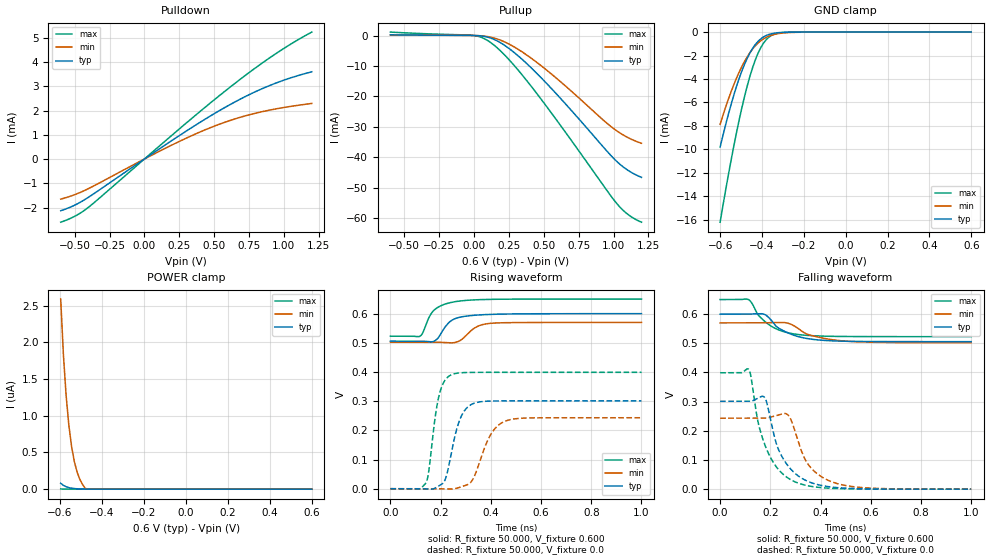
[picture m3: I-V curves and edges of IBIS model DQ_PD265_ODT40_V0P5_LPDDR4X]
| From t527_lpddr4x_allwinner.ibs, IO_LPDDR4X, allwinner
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|   Model DQ_PD265_ODT40_V0P5_LPDDR4X
[Model] DQ_PD265_ODT40_V0P5_LPDDR4X
Model_type I/O
Polarity   Non-Inverting
Enable   Active-Low
Vinl =  0.300V
Vinh =  0.300V
C_comp   1.521pF   1.481pF   1.573pF
C_comp_pulldown   0.788pF   0.760pF   0.822pF
[Model Spec]
Vinh   0.300V   0.285V   0.325V
Vinl   0.300V   0.285V   0.325V
[Temperature Range]   25.000   0.125k   -40.000
[Voltage Range]   0.600V   0.570V   0.650V
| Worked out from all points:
|   slope of the pulldown table from 0 to 0.09 V, typ, clamps not added: 256 ohm
|   slope of the pullup table from 0 to 0.09 V, typ, clamps not added: 198 ohm
|   GND clamp passes 1 mA (typ) near -0.43 V on its own axis
|   rising waveform, R_fixture 50.000, V_fixture 0.600: 20-80 % time 56.7ps typ, 57.4ps min, 59.6ps max; typ from 0.506 V to 0.6 V
|   rising waveform, R_fixture 50.000, V_fixture 0.0: 20-80 % time 50.6ps typ, 68.6ps min, 37.8ps max; typ from 0 V to 0.301 V
|   falling waveform, R_fixture 50.000, V_fixture 0.600: 20-80 % time 103ps typ, 120ps min, 91.8ps max; typ from 0.6 V to 0.506 V
|   falling waveform, R_fixture 50.000, V_fixture 0.0: 20-80 % time 90.6ps typ, 93.6ps min, 86.8ps max; typ from 0.301 V to 0 V
[Pulldown]
|Voltage   I(typ)   I(min)   I(max)
-600mV    -2.132mA   -1.654mA   -2.605mA
-486mV    -1.865mA   -1.44mA    -2.321mA
-391mV    -1.54mA    -1.192mA   -1.945mA
179mV     694.8uA    525.5uA    889.9uA
369mV     1.405mA    1.04mA     1.817mA
521mV     1.939mA    1.399mA    2.536mA
692mV     2.484mA    1.729mA    3.31mA
863mV     2.948mA    1.976mA    4.032mA
1.034V    3.318mA    2.157mA    4.685mA
1.2V      3.598mA    2.292mA    5.235mA
[Pullup]
|Voltage   I(typ)   I(min)   I(max)
-600mV    213.8uA    167.3uA    1.124mA
3mV       -3.94uA    -3.607uA   -19.46uA
60mV      -193.1uA   -141.5uA   -752.2uA
136mV     -1.136mA   -729.4uA   -2.911mA
193mV     -2.48mA    -1.6mA     -5.221mA
269mV     -4.918mA   -3.281mA   -8.89mA
440mV     -12mA      -8.5mA     -18.5mA
630mV     -21.19mA   -15.6mA    -30.21mA
934mV     -37.05mA   -28.12mA   -49.75mA
1.029V    -41.65mA   -31.53mA   -55.56mA
1.105V    -44.37mA   -33.6mA    -58.88mA
1.2V      -46.62mA   -35.42mA   -61.36mA
[GND_clamp]
|Voltage   I(typ)   I(min)   I(max)
-600mV    -9.815mA   -7.875mA   -16.22mA
-561mV    -7.046mA   -5.746mA   -12.23mA
-535mV    -5.403mA   -4.507mA   -9.766mA
-496mV    -3.316mA   -2.935mA   -6.457mA
-470mV    -2.216mA   -2.096mA   -4.569mA
-444mV    -1.371mA   -1.428mA   -2.993mA
-418mV    -778.9uA   -926.6uA   -1.774mA
-392mV    -406.1uA   -573.1uA   -928uA
-366mV    -197uA     -340uA     -421.7uA
-327mV    -60.99uA   -147uA     -102.9uA
-275mV    -11.95uA   -46.19uA   -12.78uA
600mV     -16.32nA   -580.9nA   -530.8pA
[POWER_clamp]
|Voltage   I(typ)   I(min)   I(max)
-596mV    80.11nA    2.59uA     2.718nA
-583mV    51.54nA    1.823uA    1.849nA
-570mV    33.02nA    1.267uA    1.347nA
-557mV    21.05nA    865.5nA    1.054nA
-544mV    13.37nA    578.4nA    882.1pA
-531mV    8.471nA    375.5nA    779.4pA
-518mV    5.383nA    233.4nA    714.2pA
-505mV    3.418nA    134nA      667.8pA
-492mV    2.102nA    63.17nA    630.5pA
-479mV    1.14nA     10.45nA    598.7pA
-466mV    372.9pA    0A         570.6pA
600mV     0A         0A         0A
[Ramp]
| variable   typ   min   max
dV/dt_r   0.181/50.745p   0.146/68.766p   0.239/37.989p
dV/dt_f   56.584m/0.103n   40.718m/0.120n   76.332m/91.880p
R_load = 50.000
[Rising Waveform]
R_fixture= 50.000
V_fixture= 0.600
V_fixture_min= 0.570
V_fixture_max= 0.650
|time   V(typ)   V(min)   V(max)
0s        505.7mV    502.1mV    522.8mV
117ps     505.7mV    502.1mV    522.3mV
129ps     505.7mV    502.2mV    534.6mV
157ps     503.7mV    502.1mV    592.4mV
174ps     505.7mV    502.1mV    612mV
231ps     567.7mV    500.2mV    636.2mV
265ps     585.1mV    503mV      642mV
341ps     594.9mV    553.6mV    647.5mV
393ps     597.3mV    566.3mV    648.9mV
1ns       600mV      570mV      650mV
[Rising Waveform]
R_fixture= 50.000
V_fixture= 0.0
V_fixture_min= 0.0
V_fixture_max= 0.0
|time   V(typ)   V(min)   V(max)
0s        3.732uV    85.56uV    282.6nV
142ps     -591.3uV   181.1uV    20.75mV
193ps     9.659mV    128.6uV    317mV
219ps     33.23mV    -656.5uV   373.8mV
242ps     119.4mV    -1.031mV   390.2mV
272ps     226.3mV    3.685mV    396.7mV
307ps     279.3mV    14.03mV    398.5mV
400ps     300.5mV    186.3mV    398.9mV
462ps     301.1mV    233.1mV    398.9mV
1ns       301.2mV    243.2mV    398.9mV
[Falling Waveform]
R_fixture= 50.000
V_fixture= 0.600
V_fixture_min= 0.570
V_fixture_max= 0.650
|time   V(typ)   V(min)   V(max)
0s        600mV      570mV      650mV
113ps     600mV      570mV      649.7mV
127ps     600.4mV    570mV      636.6mV
152ps     601.3mV    570.1mV    596.5mV
191ps     590.5mV    570.5mV    566.1mV
231ps     553mV      571.1mV    546.7mV
298ps     526.4mV    558.1mV    531.6mV
354ps     515.3mV    529.2mV    526.7mV
487ps     507.2mV    508.3mV    523.4mV
1ns       505.7mV    502.2mV    522.8mV
[Falling Waveform]
R_fixture= 50.000
V_fixture= 0.0
V_fixture_min= 0.0
V_fixture_max= 0.0
|time   V(typ)   V(min)   V(max)
0s        301.2mV    243.2mV    398.9mV
115ps     301.5mV    243.2mV    409mV
150ps     311.6mV    243.5mV    234.6mV
175ps     316.2mV    243.5mV    159.5mV
231ps     139.2mV    253.9mV    68.76mV
268ps     82.71mV    256.2mV    39.5mV
294ps     57.66mV    209.9mV    26.77mV
351ps     26.14mV    84.46mV    11.43mV
450ps     6.643mV    23.56mV    2.595mV
1ns       6.988uV    106.3uV    975.2nV
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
